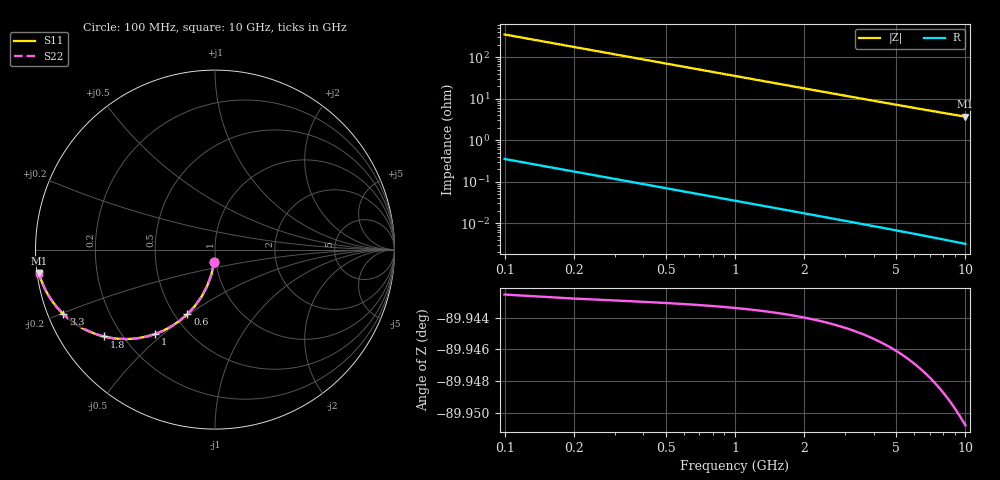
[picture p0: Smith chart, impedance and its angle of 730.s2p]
# Hz S RI R 50.00
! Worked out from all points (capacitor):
!   100 points, 100 MHz to 10 GHz, reference 50 ohm
!   read as one part in shunt: C = 4.52 pF near 100 MHz
!   lowest |Z| = 3.69 ohm at 10 GHz (marker M1)
!   S11 on the Smith chart (normalised r, x): 100 MHz: 0.98, -0.14; 600 MHz: 0.58, -0.49; 1 GHz: 0.33, -0.47; 1.8 GHz: 0.13, -0.34; 3.3 GHz: 0.04, -0.20; 10 GHz: 0.01, -0.07
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1e8  -0.00508 -0.0706  0.9949 -0.0708  0.9949 -0.0708  -0.00508 -0.0706
2e8  -0.0199 -0.1392  0.98 -0.1394  0.98 -0.1394  -0.0199 -0.1392
3e8  -0.0436 -0.2036  0.9563 -0.204  0.9563 -0.204  -0.0436 -0.2036
4e8  -0.075 -0.2626  0.925 -0.2631  0.925 -0.2631  -0.075 -0.2626
5e8  -0.1123 -0.3149  0.8877 -0.3156  0.8877 -0.3156  -0.1123 -0.3149
6e8  -0.154 -0.3601  0.846 -0.3609  0.846 -0.3609  -0.154 -0.3601
7e8  -0.1985 -0.3979  0.8015 -0.3988  0.8015 -0.3988  -0.1985 -0.3979
8e8  -0.2443 -0.4286  0.7557 -0.4297  0.7557 -0.4297  -0.2443 -0.4286
1e9  -0.3354 -0.471  0.6646 -0.4723  0.6646 -0.4723  -0.3354 -0.471
1.3e9  -0.46 -0.497  0.54 -0.4988  0.54 -0.4988  -0.46 -0.497
1.5e9  -0.5312 -0.4975  0.4687 -0.4995  0.4687 -0.4995  -0.5312 -0.4975
1.8e9  -0.6198 -0.4837  0.3802 -0.4862  0.3802 -0.4862  -0.6198 -0.4837
2.1e9  -0.6891 -0.4609  0.3109 -0.4638  0.3109 -0.4638  -0.6891 -0.4609
2.5e9  -0.7582 -0.4259  0.2417 -0.4293  0.2417 -0.4293  -0.7582 -0.4259
2.9e9  -0.8082 -0.3912  0.1917 -0.3951  0.1917 -0.3951  -0.8082 -0.3912
3.3e9  -0.845 -0.3591  0.1549 -0.3636  0.1549 -0.3636  -0.845 -0.3591
3.4e9  -0.8526 -0.3516  0.1473 -0.3563  0.1473 -0.3563  -0.8526 -0.3516
4.2e9  -0.8981 -0.2991  0.1019 -0.3049  0.1019 -0.3049  -0.8981 -0.2991
5.1e9  -0.9285 -0.2537  0.0715 -0.2607  0.0715 -0.2607  -0.9285 -0.2537
6.7e9  -0.9572 -0.1971  0.0427 -0.2064  0.0427 -0.2064  -0.9572 -0.1971
8.4e9  -0.9724 -0.1572  0.0275 -0.169  0.0275 -0.169  -0.9724 -0.1572
1e10  -0.9804 -0.1306  0.0194 -0.1448  0.0194 -0.1448  -0.9804 -0.1306
